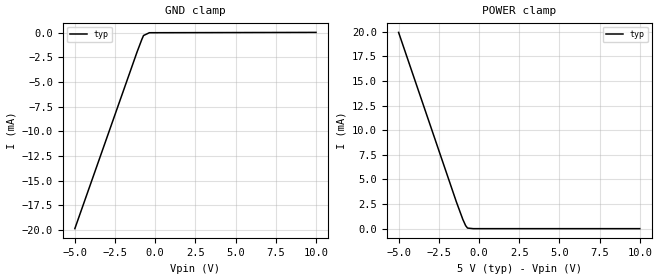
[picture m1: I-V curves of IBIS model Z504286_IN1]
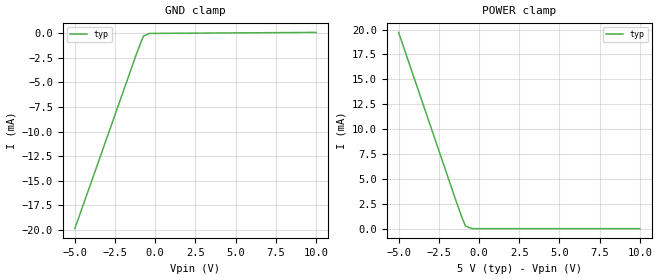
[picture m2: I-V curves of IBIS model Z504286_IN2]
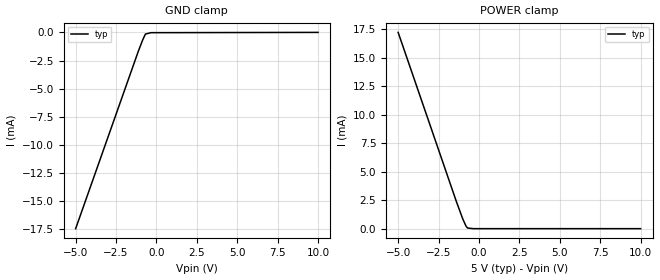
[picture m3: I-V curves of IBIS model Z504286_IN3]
| YOU ARE ONLY AUTHORIZED TO USE THIS SOFTWARE
| ACCORDING TO LICENSOR'S LICENSE RESTRICTIONS.
[IBIS Ver] 3.1
[File Name] mc74hc76d.ibs
[File Rev] 2.0
[Source] Measured and created by ICX Technology
[Date] Friday 7/14/00 9:08:11 AM
[Copyright]
| (C) COPYRIGHT 1993-2000
| MENTOR GRAPHICS CORPORATION
| ICX STANDARD LIBRARY, ICX PROJECT MODELING,
| ICX CUSTOM MODELING, ICX VENDOR MODEL
| ALL RIGHTS RESERVED.
| THE FOLLOWING ARE TRADEMARKS OR SERVICE MARKS OF
| MENTOR GRAPHICS CORPORATION:ICX (R), ICX STANDARD
| LIBRARY(R), ICX PROJECT MODELING(R), ICX CUSTOM
| MODELING(R), qualityIBIS(TM), MODELVIEWER(TM),
| AND MODELEDITOR(TM)
| ALL COPIES OF SOFTWARE, INCLUDING BUT NOT LIMITED TO
| ANY MODIFICATIONS, ENHANCEMENTS OR DERIVATIVE WORKS,
| MUST CONTAIN ALL MENTOR GRAPHICS CORPORATION'S
| NOTICES AND LEGENDS, INCLUDING THOSE EMBEDDED IN
| SOFTWARE AND THOSE AFFIXED TO SOFTWARE MEDIUM
| AND CONTAINER, AS RECEIVED FROM MENTOR GRAPHICS
| CORPORATION.
|  ZAP Model Builder 2.7
[Component] MC74HC76D
[Manufacturer] OnSemiconductor
[Package]
| variable   typ   min   max
R_pkg  .156ohms NA NA
L_pkg  3.148nH NA NA
C_pkg  .388pF NA NA
[Pin] signal_name  model_name  R_pin  L_pin C_pin
1 _CLK Z504286_IN1 .162 3.798n .418p
2 _PRE Z504286_IN2 .158 3.358n .398p
3 _CLR Z504286_IN2 .154 2.928n .378p
4 J Z504286_IN3 .15 2.508n .358p
5 VCC POWER .15 2.508n .358p
6 _CLK Z504286_IN1 .154 2.928n .378p
7 _PRE Z504286_IN2 .158 3.358n .398p
8 _CLR Z504286_IN2 .162 3.798n .418p
9 J Z504286_IN3 .162 3.798n .418p
10 _Q Z504286_OUT4 .158 3.358n .398p
11 Q Z504286_OUT5 .154 2.928n .378p
12 K Z504286_IN3 .15 2.508n .358p
13 GROUND GND .15 2.508n .358p
14 _Q Z504286_OUT4 .154 2.928n .378p
15 Q Z504286_OUT5 .158 3.358n .398p
16 K Z504286_IN3 .162 3.798n .418p
| Models and submodels in the file (5): Z504286_IN1 (Input), Z504286_IN2 (Input), Z504286_IN3 (Input), Z504286_OUT4 (Output), Z504286_OUT5 (Output)
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| (C) COPYRIGHT 1993-2000
| MENTOR GRAPHICS CORPORATION
| ICX STANDARD LIBRARY, ICX PROJECT MODELING,
| ICX CUSTOM MODELING, ICX VENDOR MODEL
| ALL RIGHTS RESERVED.
| THE FOLLOWING ARE TRADEMARKS OR SERVICE MARKS OF
| MENTOR GRAPHICS CORPORATION:ICX (R), ICX STANDARD
| LIBRARY(R), ICX PROJECT MODELING(R), ICX CUSTOM
| MODELING(R), qualityIBIS(TM), MODELVIEWER(TM),
| AND MODELEDITOR(TM)
| ALL COPIES OF SOFTWARE, INCLUDING BUT NOT LIMITED TO
| ANY MODIFICATIONS, ENHANCEMENTS OR DERIVATIVE WORKS,
| MUST CONTAIN ALL MENTOR GRAPHICS CORPORATION'S
| NOTICES AND LEGENDS, INCLUDING THOSE EMBEDDED IN
| SOFTWARE AND THOSE AFFIXED TO SOFTWARE MEDIUM
| AND CONTAINER, AS RECEIVED FROM MENTOR GRAPHICS
| CORPORATION.
| Model Application Version 1.89 2/18/99.
[Model] Z504286_IN1
Model_type Input
Vinl = 1.000V
Vinh = 3.500V
C_comp 4.000pF NA NA
| variable typ   min   max
[Voltage Range] 5.000V NA NA
[GND Clamp Reference] 0.000V NA NA
[POWER Clamp Reference] 5.000V NA NA
[GND Clamp]
-5V       -19.86mA   NA         NA
-1.13V    -1.972mA   NA         NA
-840.6mV  -730.3uA   NA         NA
-728.2mV  -305.6uA   NA         NA
-364.1mV  -21.76uA   NA         NA
10V       11.11uA    NA         NA
[POWER Clamp]
-5V       19.94mA    NA         NA
-1.405V   2.715mA    NA         NA
-1.004V   937.4uA    NA         NA
-830mV    308.8uA    NA         NA
-711mV    59.64uA    NA         NA
-355.5mV  0A         NA         NA
10V       0A         NA         NA
| (C) COPYRIGHT 1993-2000
| MENTOR GRAPHICS CORPORATION
| ICX STANDARD LIBRARY, ICX PROJECT MODELING,
| ICX CUSTOM MODELING, ICX VENDOR MODEL
| ALL RIGHTS RESERVED.
| THE FOLLOWING ARE TRADEMARKS OR SERVICE MARKS OF
| MENTOR GRAPHICS CORPORATION:ICX (R), ICX STANDARD
| LIBRARY(R), ICX PROJECT MODELING(R), ICX CUSTOM
| MODELING(R), qualityIBIS(TM), MODELVIEWER(TM),
| AND MODELEDITOR(TM)
| ALL COPIES OF SOFTWARE, INCLUDING BUT NOT LIMITED TO
| ANY MODIFICATIONS, ENHANCEMENTS OR DERIVATIVE WORKS,
| MUST CONTAIN ALL MENTOR GRAPHICS CORPORATION'S
| NOTICES AND LEGENDS, INCLUDING THOSE EMBEDDED IN
| SOFTWARE AND THOSE AFFIXED TO SOFTWARE MEDIUM
| AND CONTAINER, AS RECEIVED FROM MENTOR GRAPHICS
| CORPORATION.
| Model Application Version 1.89 2/18/99.
[Model] Z504286_IN2
Model_type Input
Vinl = 1.000V
Vinh = 3.500V
C_comp 4.000pF NA NA
| variable typ   min   max
[Voltage Range] 5.000V NA NA
[GND Clamp Reference] 0.000V NA NA
[POWER Clamp Reference] 5.000V NA NA
[GND Clamp]
-5V       -19.87mA   NA         NA
-1.131V   -1.941mA   NA         NA
-878.6mV  -853.6uA   NA         NA
-727.8mV  -278.1uA   NA         NA
-363.9mV  -11.84uA   NA         NA
10V       92.84uA    NA         NA
[POWER Clamp]
-5V       19.71mA    NA         NA
-1.405V   2.684mA    NA         NA
-1.004V   890uA      NA         NA
-830mV    251.9uA    NA         NA
-415mV    0A         NA         NA
10V       0A         NA         NA
| (C) COPYRIGHT 1993-2000
| MENTOR GRAPHICS CORPORATION
| ICX STANDARD LIBRARY, ICX PROJECT MODELING,
| ICX CUSTOM MODELING, ICX VENDOR MODEL
| ALL RIGHTS RESERVED.
| THE FOLLOWING ARE TRADEMARKS OR SERVICE MARKS OF
| MENTOR GRAPHICS CORPORATION:ICX (R), ICX STANDARD
| LIBRARY(R), ICX PROJECT MODELING(R), ICX CUSTOM
| MODELING(R), qualityIBIS(TM), MODELVIEWER(TM),
| AND MODELEDITOR(TM)
| ALL COPIES OF SOFTWARE, INCLUDING BUT NOT LIMITED TO
| ANY MODIFICATIONS, ENHANCEMENTS OR DERIVATIVE WORKS,
| MUST CONTAIN ALL MENTOR GRAPHICS CORPORATION'S
| NOTICES AND LEGENDS, INCLUDING THOSE EMBEDDED IN
| SOFTWARE AND THOSE AFFIXED TO SOFTWARE MEDIUM
| AND CONTAINER, AS RECEIVED FROM MENTOR GRAPHICS
| CORPORATION.
| Model Application Version 1.89 2/18/99.
[Model] Z504286_IN3
Model_type Input
Vinl = 1.000V
Vinh = 3.500V
C_comp 4.000pF NA NA
| variable typ   min   max
[Voltage Range] 5.000V NA NA
[GND Clamp Reference] 0.000V NA NA
[POWER Clamp Reference] 5.000V NA NA
[GND Clamp]
-5V       -17.47mA   NA         NA
-1.133V   -1.714mA   NA         NA
-860.1mV  -690.3uA   NA         NA
-685.3mV  -143.2uA   NA         NA
-342.6mV  -16.23uA   NA         NA
10V       8.621uA    NA         NA
[POWER Clamp]
-5V       17.24mA    NA         NA
-1.407V   2.421mA    NA         NA
-1.005V   865.2uA    NA         NA
-811mV    251.8uA    NA         NA
-710mV    58.1uA     NA         NA
-355mV    0A         NA         NA
10V       0A         NA         NA
